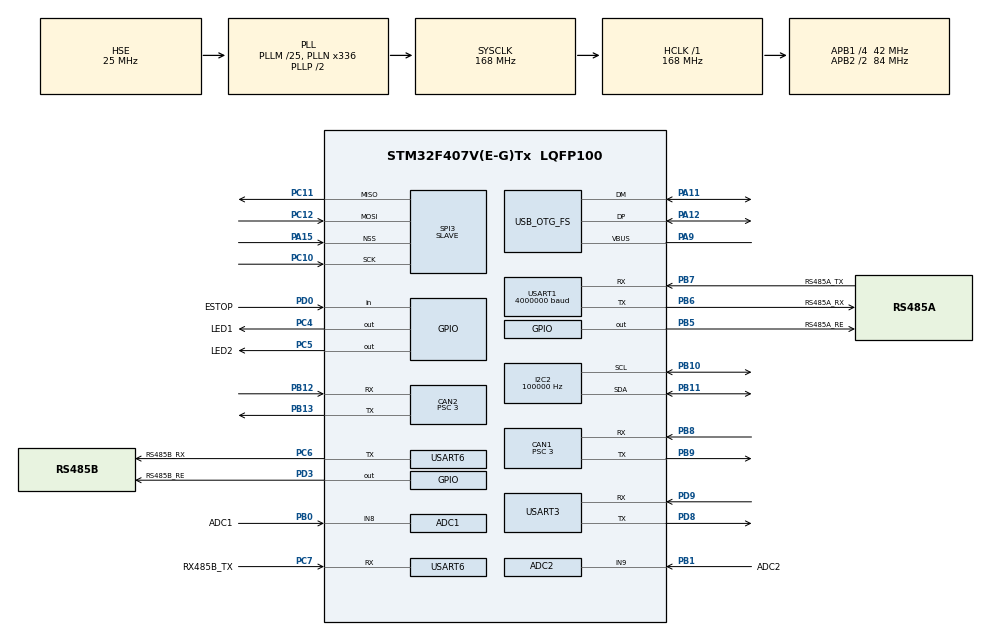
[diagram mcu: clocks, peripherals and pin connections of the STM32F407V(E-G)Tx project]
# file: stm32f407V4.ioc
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ADC1.Channel-1\#ChannelRegularConversion=ADC_CHANNEL_8
ADC1.NbrOfConversionFlag=1
ADC1.Rank-1\#ChannelRegularConversion=1
ADC1.SamplingTime-1\#ChannelRegularConversion=ADC_SAMPLETIME_3CYCLES
ADC1.master=1
ADC2.Channel-0\#ChannelRegularConversion=ADC_CHANNEL_9
ADC2.NbrOfConversionFlag=1
ADC2.Rank-0\#ChannelRegularConversion=1
ADC2.SamplingTime-0\#ChannelRegularConversion=ADC_SAMPLETIME_3CYCLES
CAN1.BS1=CAN_BS1_9TQ
CAN1.BS2=CAN_BS2_4TQ
CAN1.CalculateBaudRate=1000000
CAN1.CalculateTimeBit=1000
CAN1.CalculateTimeQuantum=71.42857142857143
CAN1.NART=ENABLE
CAN1.Prescaler=3
CAN2.BS1=CAN_BS1_9TQ
CAN2.BS2=CAN_BS2_4TQ
CAN2.CalculateBaudRate=1000000
CAN2.CalculateTimeBit=1000
CAN2.CalculateTimeQuantum=71.42857142857143
CAN2.NART=ENABLE
CAN2.Prescaler=3
Dma.I2C2_RX.2.Direction=DMA_PERIPH_TO_MEMORY
Dma.I2C2_RX.2.FIFOMode=DMA_FIFOMODE_DISABLE
Dma.I2C2_RX.2.Instance=DMA1_Stream3
Dma.I2C2_RX.2.MemDataAlignment=DMA_MDATAALIGN_BYTE
Dma.I2C2_RX.2.MemInc=DMA_MINC_ENABLE
Dma.I2C2_RX.2.Mode=DMA_NORMAL
Dma.I2C2_RX.2.PeriphDataAlignment=DMA_PDATAALIGN_BYTE
Dma.I2C2_RX.2.PeriphInc=DMA_PINC_DISABLE
Dma.I2C2_RX.2.Priority=DMA_PRIORITY_HIGH
Dma.I2C2_TX.3.Direction=DMA_MEMORY_TO_PERIPH
Dma.I2C2_TX.3.FIFOMode=DMA_FIFOMODE_DISABLE
Dma.I2C2_TX.3.Instance=DMA1_Stream7
Dma.I2C2_TX.3.MemDataAlignment=DMA_MDATAALIGN_BYTE
Dma.I2C2_TX.3.MemInc=DMA_MINC_ENABLE
Dma.I2C2_TX.3.Mode=DMA_NORMAL
Dma.I2C2_TX.3.PeriphDataAlignment=DMA_PDATAALIGN_BYTE
Dma.I2C2_TX.3.PeriphInc=DMA_PINC_DISABLE
Dma.I2C2_TX.3.Priority=DMA_PRIORITY_HIGH
Dma.Request0=SPI3_RX
Dma.Request1=SPI3_TX
Dma.Request2=I2C2_RX
Dma.Request3=I2C2_TX
Dma.Request4=USART3_RX
Dma.Request5=USART3_TX
Dma.Request6=USART6_RX
Dma.Request7=USART1_RX
Dma.SPI3_RX.0.Direction=DMA_PERIPH_TO_MEMORY
Dma.SPI3_RX.0.FIFOMode=DMA_FIFOMODE_DISABLE
Dma.SPI3_RX.0.Instance=DMA1_Stream0
Dma.SPI3_RX.0.MemDataAlignment=DMA_MDATAALIGN_BYTE
Dma.SPI3_RX.0.MemInc=DMA_MINC_ENABLE
Dma.SPI3_RX.0.Mode=DMA_NORMAL
Dma.SPI3_RX.0.PeriphDataAlignment=DMA_PDATAALIGN_BYTE
Dma.SPI3_RX.0.PeriphInc=DMA_PINC_DISABLE
Dma.SPI3_RX.0.Priority=DMA_PRIORITY_HIGH
Dma.SPI3_TX.1.Direction=DMA_MEMORY_TO_PERIPH
Dma.SPI3_TX.1.FIFOMode=DMA_FIFOMODE_DISABLE
Dma.SPI3_TX.1.Instance=DMA1_Stream5
Dma.SPI3_TX.1.MemDataAlignment=DMA_MDATAALIGN_BYTE
Dma.SPI3_TX.1.MemInc=DMA_MINC_ENABLE
Dma.SPI3_TX.1.Mode=DMA_NORMAL
Dma.SPI3_TX.1.PeriphDataAlignment=DMA_PDATAALIGN_BYTE
Dma.SPI3_TX.1.PeriphInc=DMA_PINC_DISABLE
Dma.SPI3_TX.1.Priority=DMA_PRIORITY_HIGH
Dma.USART1_RX.7.Direction=DMA_PERIPH_TO_MEMORY
Dma.USART1_RX.7.FIFOMode=DMA_FIFOMODE_DISABLE
Dma.USART1_RX.7.Instance=DMA2_Stream2
Dma.USART1_RX.7.MemDataAlignment=DMA_MDATAALIGN_BYTE
Dma.USART1_RX.7.MemInc=DMA_MINC_ENABLE
Dma.USART1_RX.7.Mode=DMA_NORMAL
Dma.USART1_RX.7.PeriphDataAlignment=DMA_PDATAALIGN_BYTE
Dma.USART1_RX.7.PeriphInc=DMA_PINC_DISABLE
Dma.USART1_RX.7.Priority=DMA_PRIORITY_HIGH
Dma.USART3_RX.4.Direction=DMA_PERIPH_TO_MEMORY
Dma.USART3_RX.4.FIFOMode=DMA_FIFOMODE_DISABLE
Dma.USART3_RX.4.Instance=DMA1_Stream1
Dma.USART3_RX.4.MemDataAlignment=DMA_MDATAALIGN_BYTE
Dma.USART3_RX.4.MemInc=DMA_MINC_ENABLE
Dma.USART3_RX.4.Mode=DMA_NORMAL
Dma.USART3_RX.4.PeriphDataAlignment=DMA_PDATAALIGN_BYTE
Dma.USART3_RX.4.PeriphInc=DMA_PINC_DISABLE
Dma.USART3_RX.4.Priority=DMA_PRIORITY_HIGH
Dma.USART3_TX.5.Direction=DMA_MEMORY_TO_PERIPH
Dma.USART3_TX.5.FIFOMode=DMA_FIFOMODE_DISABLE
Dma.USART3_TX.5.Instance=DMA1_Stream4
Dma.USART3_TX.5.MemDataAlignment=DMA_MDATAALIGN_BYTE
Dma.USART3_TX.5.MemInc=DMA_MINC_ENABLE
Dma.USART3_TX.5.Mode=DMA_NORMAL
Dma.USART3_TX.5.PeriphDataAlignment=DMA_PDATAALIGN_BYTE
Dma.USART3_TX.5.PeriphInc=DMA_PINC_DISABLE
Dma.USART3_TX.5.Priority=DMA_PRIORITY_HIGH
Dma.USART6_RX.6.Direction=DMA_PERIPH_TO_MEMORY
Dma.USART6_RX.6.FIFOMode=DMA_FIFOMODE_DISABLE
Dma.USART6_RX.6.Instance=DMA2_Stream1
Dma.USART6_RX.6.MemDataAlignment=DMA_MDATAALIGN_BYTE
Dma.USART6_RX.6.MemInc=DMA_MINC_ENABLE
Dma.USART6_RX.6.Mode=DMA_NORMAL
Dma.USART6_RX.6.PeriphDataAlignment=DMA_PDATAALIGN_BYTE
Dma.USART6_RX.6.PeriphInc=DMA_PINC_DISABLE
Dma.USART6_RX.6.Priority=DMA_PRIORITY_HIGH
FREERTOS.Tasks01=defaultTask,24,128,StartDefaultTask,Default,NULL,Dynamic,NULL,NULL;cdcRXTask,24,128,StartCDCRXTask,Default,NULL,Dynamic,NULL,NULL;canaTXTask,24,128,StartCANATXTask,Default,NULL,Dynamic,NULL,NULL;dataRXTask,24,128,StartDataRXTask,Default,NULL,Dynamic,NULL,NULL;cdcTXTask,24,128,StartCDCTXTask,Default,NULL,Dynamic,NULL,NULL;spiRXTask06,24,128,StartSPIRXTask,Default,NULL,Dynamic,NULL,NULL;usartTXTask,24,128,StartUSARTTXTask,Default,NULL,Dynamic,NULL,NULL;i2cRXTask,24,128,StartI2CRXTask,Default,NULL,Dynamic,NULL,NULL;adcRXTask,24,128,StartADCRXTask,Default,NULL,Dynamic,NULL,NULL;rs485ATXTask,24,128,StartRS485ATXTask,Default,NULL,Dynamic,NULL,NULL;rs485BTXTask,24,128,StartRS485BTXTask,Default,NULL,Dynamic,NULL,NULL;canbTXTask,24,128,StartCANBTXTask,Default,NULL,Dynamic,NULL,NULL
FREERTOS.configUSE_NEWLIB_REENTRANT=1
I2C2.ClockSpeed=100000
I2C2.I2C_Mode=I2C_Standard
Mcu.Family=STM32F4
Mcu.Name=STM32F407V(E-G)Tx
Mcu.Package=LQFP100
NVIC.CAN1_RX0_IRQn=true\:5\:0\:false\:false\:true\:true\:true\:true\:true
NVIC.CAN2_RX1_IRQn=true\:5\:0\:false\:false\:true\:true\:true\:true\:true
NVIC.DMA1_Stream0_IRQn=true\:5\:0\:false\:false\:true\:false\:false\:true\:true
NVIC.DMA1_Stream1_IRQn=true\:5\:0\:false\:false\:true\:true\:false\:true\:true
NVIC.DMA1_Stream3_IRQn=true\:5\:0\:false\:false\:true\:true\:false\:true\:true
NVIC.DMA1_Stream4_IRQn=true\:5\:0\:false\:false\:true\:true\:false\:true\:true
NVIC.DMA1_Stream5_IRQn=true\:5\:0\:false\:false\:true\:true\:false\:true\:true
NVIC.DMA1_Stream7_IRQn=true\:5\:0\:false\:false\:true\:true\:false\:true\:true
NVIC.DMA2_Stream1_IRQn=true\:5\:0\:false\:false\:true\:true\:false\:true\:true
NVIC.DMA2_Stream2_IRQn=true\:5\:0\:false\:false\:true\:true\:false\:true\:true
NVIC.I2C2_ER_IRQn=true\:5\:0\:false\:false\:true\:true\:true\:true\:true
NVIC.I2C2_EV_IRQn=true\:5\:0\:false\:false\:true\:true\:true\:true\:true
NVIC.OTG_FS_IRQn=true\:5\:0\:false\:false\:true\:true\:false\:true\:true
NVIC.PriorityGroup=NVIC_PRIORITYGROUP_4
NVIC.RCC_IRQn=true\:5\:0\:false\:false\:true\:true\:true\:false\:true
NVIC.TIM8_UP_TIM13_IRQn=true\:15\:0\:false\:false\:true\:false\:false\:true\:true
NVIC.TimeBase=TIM8_UP_TIM13_IRQn
NVIC.TimeBaseIP=TIM13
NVIC.USART1_IRQn=true\:5\:0\:false\:false\:true\:true\:true\:true\:true
NVIC.USART3_IRQn=true\:5\:0\:false\:false\:true\:true\:true\:true\:true
NVIC.USART6_IRQn=true\:5\:0\:false\:false\:true\:true\:true\:true\:true
PA11.Mode=Device_Only
PA11.Signal=USB_OTG_FS_DM
PA12.Mode=Device_Only
PA12.Signal=USB_OTG_FS_DP
PA13.Mode=Serial_Wire
PA13.Signal=SYS_JTMS-SWDIO
PA14.Mode=Serial_Wire
PA14.Signal=SYS_JTCK-SWCLK
PA15.GPIO_PuPd=GPIO_NOPULL
PA15.Mode=NSS_Signal_Hard_Input
PA15.Signal=SPI3_NSS
PA9.Mode=Activate_VBUS
PA9.Signal=USB_OTG_FS_VBUS
PB0.GPIO_Label=ADC1
PB0.Signal=ADCx_IN8
PB1.GPIO_Label=ADC2
PB1.Signal=ADCx_IN9
PB10.Mode=I2C
PB10.Signal=I2C2_SCL
PB11.Mode=I2C
PB11.Signal=I2C2_SDA
PB12.Mode=CAN_Activate
PB12.Signal=CAN2_RX
PB13.Mode=CAN_Activate
PB13.Signal=CAN2_TX
PB5.GPIO_Label=RS485A_RE
PB5.GPIO_PuPd=GPIO_NOPULL
PB5.GPIO_Speed=GPIO_SPEED_FREQ_HIGH
PB5.PinState=GPIO_PIN_RESET
PB5.Signal=GPIO_Output
PB6.GPIO_Label=RS485A_RX
PB6.GPIO_PuPd=GPIO_PULLUP
PB6.Mode=Asynchronous
PB6.Signal=USART1_TX
PB7.GPIO_Label=RS485A_TX
PB7.GPIO_PuPd=GPIO_PULLUP
PB7.GPIO_Speed=GPIO_SPEED_FREQ_VERY_HIGH
PB7.Mode=Asynchronous
PB7.Signal=USART1_RX
PB8.Mode=CAN_Activate
PB8.Signal=CAN1_RX
PB9.Mode=CAN_Activate
PB9.Signal=CAN1_TX
PC10.Mode=Full_Duplex_Slave
PC10.Signal=SPI3_SCK
PC11.Mode=Full_Duplex_Slave
PC11.Signal=SPI3_MISO
PC12.Mode=Full_Duplex_Slave
PC12.Signal=SPI3_MOSI
PC4.GPIO_Label=LED1
PC4.Signal=GPIO_Output
PC5.GPIO_Label=LED2
PC5.Signal=GPIO_Output
PC6.GPIO_Label=RS485B_RX
PC6.GPIO_PuPd=GPIO_PULLUP
PC6.Mode=Asynchronous
PC6.Signal=USART6_TX
PC7.GPIO_Label=RX485B_TX
PC7.GPIO_PuPd=GPIO_PULLUP
PC7.Mode=Asynchronous
PC7.Signal=USART6_RX
PD0.GPIO_Label=ESTOP
PD0.Signal=GPIO_Input
PD3.GPIO_Label=RS485B_RE
PD3.GPIO_ModeDefaultOutputPP=GPIO_MODE_OUTPUT_PP
PD3.GPIO_PuPd=GPIO_NOPULL
PD3.GPIO_Speed=GPIO_SPEED_FREQ_HIGH
PD3.PinState=GPIO_PIN_RESET
PD3.Signal=GPIO_Output
PD8.Mode=Asynchronous
PD8.Signal=USART3_TX
PD9.Mode=Asynchronous
PD9.Signal=USART3_RX
PH0-OSC_IN.Mode=HSE-External-Oscillator
PH0-OSC_IN.Signal=RCC_OSC_IN
PH1-OSC_OUT.Mode=HSE-External-Oscillator
PH1-OSC_OUT.Signal=RCC_OSC_OUT
ProjectManager.HeapSize=0x400
ProjectManager.StackSize=0x800
ProjectManager.TargetToolchain=STM32CubeIDE
RCC.48MHZClocksFreq_Value=48000000
RCC.AHBFreq_Value=168000000
RCC.APB1CLKDivider=RCC_HCLK_DIV4
RCC.APB1Freq_Value=42000000
RCC.APB1TimFreq_Value=84000000
RCC.APB2CLKDivider=RCC_HCLK_DIV2
RCC.APB2Freq_Value=84000000
RCC.APB2TimFreq_Value=168000000
RCC.CortexFreq_Value=168000000
RCC.HCLKFreq_Value=168000000
RCC.HSE_VALUE=25000000
RCC.HSI_VALUE=16000000
RCC.LSE_VALUE=32768
RCC.PLLM=25
RCC.PLLN=336
RCC.PLLQ=7
RCC.SYSCLKFreq_VALUE=168000000
RCC.SYSCLKSource=RCC_SYSCLKSOURCE_PLLCLK
RCC.VCOOutputFreq_Value=336000000
SH.ADCx_IN8.0=ADC1_IN8,IN8
SH.ADCx_IN9.0=ADC2_IN9,IN9
SPI3.CLKPhase=SPI_PHASE_1EDGE
SPI3.CRCCalculation=SPI_CRCCALCULATION_ENABLE
SPI3.CRCPolynomial=X0+X1+X2
SPI3.Direction=SPI_DIRECTION_2LINES
SPI3.Mode=SPI_MODE_SLAVE
SPI3.VirtualNSS=VM_NSSHARD
SPI3.VirtualType=VM_SLAVE
USART1.BaudRate=4000000
USART1.OverSampling=UART_OVERSAMPLING_8
USART1.VirtualMode=VM_ASYNC
USART3.VirtualMode=VM_ASYNC
USART6.BaudRate=4000000
USART6.OverSampling=UART_OVERSAMPLING_8
USART6.VirtualMode=VM_ASYNC
USB_DEVICE.CLASS_NAME_FS=CDC
USB_DEVICE.PRODUCT_STRING_CDC_FS=USB to CAN/RS485 ComPort
USB_DEVICE.VirtualMode-CDC_FS=Cdc
USB_DEVICE.VirtualModeFS=Cdc_FS
USB_OTG_FS.VirtualMode=Device_Only
VP_CRC_VS_CRC.Mode=CRC_Activate
VP_FREERTOS_VS_CMSIS_V2.Mode=CMSIS_V2
VP_SYS_VS_tim13.Mode=TIM13
VP_USB_DEVICE_VS_USB_DEVICE_CDC_FS.Mode=CDC_FS
board=custom

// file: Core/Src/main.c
/* USER CODE BEGIN Header */
/**
  ******************************************************************************
  * @file           : main.c
  * @brief          : Main program body
  ******************************************************************************
  * @attention
  *
  * Copyright (c) 2025 STMicroelectronics.
  * All rights reserved.
  *
  * This software is licensed under terms that can be found in the LICENSE file
  * in the root directory of this software component.
  * If no LICENSE file comes with this software, it is provided AS-IS.
  *
  ******************************************************************************
  */
/* USER CODE END Header */
#include "main.h"
#include "cmsis_os.h"
#include "adc.h"
#include "can.h"
#include "crc.h"
#include "dma.h"
#include "i2c.h"
#include "spi.h"
#include "usart.h"
#include "usb_device.h"
#include "gpio.h"

/* USER CODE BEGIN Includes */
#include "loop_function.h"
/* USER CODE END Includes */

void SystemClock_Config(void);
void MX_FREERTOS_Init(void);

int main(void)
{

  /* MCU Configuration--------------------------------------------------------*/

  /* Reset of all peripherals, Initializes the Flash interface and the Systick. */
  HAL_Init();

  /* Configure the system clock */
  SystemClock_Config();

  /* Initialize all configured peripherals */
  MX_GPIO_Init();
  MX_DMA_Init();
  MX_CAN1_Init();
  MX_CAN2_Init();
  MX_I2C2_Init();
  MX_SPI3_Init();
  MX_USART6_UART_Init();
  MX_ADC1_Init();
  MX_ADC2_Init();
  MX_CRC_Init();
  MX_USART3_UART_Init();
  MX_USART1_UART_Init();
  /* USER CODE BEGIN 2 */

  //HAL_GPIO_WritePin(LED1_GPIO_Port, LED1_Pin, RESET);
  HAL_GPIO_WritePin(LED2_GPIO_Port, LED2_Pin, SET);

	init_loop();
  /* USER CODE END 2 */

  /* Init scheduler */
  osKernelInitialize();  /* Call init function for freertos objects (in cmsis_os2.c) */
  MX_FREERTOS_Init();

  /* Start scheduler */
  osKernelStart();

  /* We should never get here as control is now taken by the scheduler */

  /* Infinite loop */
  while (1)
  {

  }
}

void SystemClock_Config(void)
{
  RCC_OscInitTypeDef RCC_OscInitStruct = {0};
  RCC_ClkInitTypeDef RCC_ClkInitStruct = {0};

  /** Configure the main internal regulator output voltage
  */
  __HAL_RCC_PWR_CLK_ENABLE();
  __HAL_PWR_VOLTAGESCALING_CONFIG(PWR_REGULATOR_VOLTAGE_SCALE1);

  /** Initializes the RCC Oscillators according to the specified parameters
  * in the RCC_OscInitTypeDef structure.
  */
  RCC_OscInitStruct.OscillatorType = RCC_OSCILLATORTYPE_HSE;
  RCC_OscInitStruct.HSEState = RCC_HSE_ON;
  RCC_OscInitStruct.PLL.PLLState = RCC_PLL_ON;
  RCC_OscInitStruct.PLL.PLLSource = RCC_PLLSOURCE_HSE;
  RCC_OscInitStruct.PLL.PLLM = 25;
  RCC_OscInitStruct.PLL.PLLN = 336;
  RCC_OscInitStruct.PLL.PLLP = RCC_PLLP_DIV2;
  RCC_OscInitStruct.PLL.PLLQ = 7;
  if (HAL_RCC_OscConfig(&RCC_OscInitStruct) != HAL_OK)
  {
    Error_Handler();
  }

  /** Initializes the CPU, AHB and APB buses clocks
  */
  RCC_ClkInitStruct.ClockType = RCC_CLOCKTYPE_HCLK|RCC_CLOCKTYPE_SYSCLK
                              |RCC_CLOCKTYPE_PCLK1|RCC_CLOCKTYPE_PCLK2;
  RCC_ClkInitStruct.SYSCLKSource = RCC_SYSCLKSOURCE_PLLCLK;
  RCC_ClkInitStruct.AHBCLKDivider = RCC_SYSCLK_DIV1;
  RCC_ClkInitStruct.APB1CLKDivider = RCC_HCLK_DIV4;
  RCC_ClkInitStruct.APB2CLKDivider = RCC_HCLK_DIV2;

  if (HAL_RCC_ClockConfig(&RCC_ClkInitStruct, FLASH_LATENCY_5) != HAL_OK)
  {
    Error_Handler();
  }
}

void HAL_TIM_PeriodElapsedCallback(TIM_HandleTypeDef *htim)
{
  if (htim->Instance == TIM13)
  {
    HAL_IncTick();
  }
}

void Error_Handler(void)
{
  __disable_irq();
  while (1)
  {
  }
}

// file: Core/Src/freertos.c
/* USER CODE BEGIN Header */
/**
  ******************************************************************************
  * File Name          : freertos.c
  * Description        : Code for freertos applications
  ******************************************************************************
  * @attention
  *
  * Copyright (c) 2025 STMicroelectronics.
  * All rights reserved.
  *
  * This software is licensed under terms that can be found in the LICENSE file
  * in the root directory of this software component.
  * If no LICENSE file comes with this software, it is provided AS-IS.
  *
  ******************************************************************************
  */
/* USER CODE END Header */

#include "FreeRTOS.h"
#include "task.h"
#include "main.h"
#include "cmsis_os.h"

/* USER CODE BEGIN Includes */
#include <stdio.h>
#include "error.h"
#include "usbd_cdc.h"
#include "loop_function.h"
#include "spi.h"
#include "usart.h"
#include "i2c.h"
#include "adc.h"
#include "mpu6050.h"
#include "usart.h"
#include "wd_control.h"
/* USER CODE END Includes */

/* USER CODE BEGIN Variables */
extern USBD_HandleTypeDef hUsbDeviceFS;
extern CAN_HandleTypeDef hcan1;
extern CAN_HandleTypeDef hcan2;
osThreadId_t wdControlTaskHandle;
static StaticTask_t wdControlTaskControlBlock;
static uint32_t wdControlTaskStack[512];
const osThreadAttr_t wdControlTask_attributes = {
  .name = "wdControlTask",
  .cb_mem = &wdControlTaskControlBlock,
  .cb_size = sizeof(wdControlTaskControlBlock),
  .stack_mem = wdControlTaskStack,
  .stack_size = sizeof(wdControlTaskStack),
  .priority = (osPriority_t) osPriorityHigh,
};
/* USER CODE END Variables */
/* Definitions for defaultTask */
osThreadId_t defaultTaskHandle;
const osThreadAttr_t defaultTask_attributes = {
  .name = "defaultTask",
  .stack_size = 128 * 4,
  .priority = (osPriority_t) osPriorityNormal,
};
/* Definitions for cdcRXTask */
osThreadId_t cdcRXTaskHandle;
const osThreadAttr_t cdcRXTask_attributes = {
  .name = "cdcRXTask",
  .stack_size = 256 * 4,
  .priority = (osPriority_t) osPriorityNormal,
};
/* Definitions for canaTXTask */
osThreadId_t canaTXTaskHandle;
const osThreadAttr_t canaTXTask_attributes = {
  .name = "canaTXTask",
  .stack_size = 256 * 4,
  .priority = (osPriority_t) osPriorityNormal,
};
/* Definitions for dataRXTask */
osThreadId_t dataRXTaskHandle;
const osThreadAttr_t dataRXTask_attributes = {
  .name = "dataRXTask",
  .stack_size = 256 * 4,
  .priority = (osPriority_t) osPriorityNormal,
};
/* Definitions for cdcTXTask */
osThreadId_t cdcTXTaskHandle;
const osThreadAttr_t cdcTXTask_attributes = {
  .name = "cdcTXTask",
  .stack_size = 256 * 4,
  .priority = (osPriority_t) osPriorityNormal,
};
/* Definitions for spiRXTask06 */
osThreadId_t spiRXTask06Handle;
const osThreadAttr_t spiRXTask06_attributes = {
  .name = "spiRXTask06",
  .stack_size = 256 * 4,
  .priority = (osPriority_t) osPriorityNormal,
};
/* Definitions for usartTXTask */
osThreadId_t usartTXTaskHandle;
const osThreadAttr_t usartTXTask_attributes = {
  .name = "usartTXTask",
  .stack_size = 128 * 4,
  .priority = (osPriority_t) osPriorityNormal,
};
/* Definitions for i2cRXTask */
osThreadId_t i2cRXTaskHandle;
const osThreadAttr_t i2cRXTask_attributes = {
  .name = "i2cRXTask",
  .stack_size = 128 * 4,
  .priority = (osPriority_t) osPriorityNormal,
};
/* Definitions for adcRXTask */
osThreadId_t adcRXTaskHandle;
const osThreadAttr_t adcRXTask_attributes = {
  .name = "adcRXTask",
  .stack_size = 128 * 4,
  .priority = (osPriority_t) osPriorityNormal,
};
/* Definitions for rs485ATXTask */
osThreadId_t rs485ATXTaskHandle;
const osThreadAttr_t rs485ATXTask_attributes = {
  .name = "rs485ATXTask",
  .stack_size = 256 * 4,
  .priority = (osPriority_t) osPriorityNormal,
};
/* Definitions for rs485BTXTask */
osThreadId_t rs485BTXTaskHandle;
const osThreadAttr_t rs485BTXTask_attributes = {
  .name = "rs485BTXTask",
  .stack_size = 256 * 4,
  .priority = (osPriority_t) osPriorityNormal,
};
/* Definitions for canbTXTask */
osThreadId_t canbTXTaskHandle;
const osThreadAttr_t canbTXTask_attributes = {
  .name = "canbTXTask",
  .stack_size = 256 * 4,
  .priority = (osPriority_t) osPriorityNormal,
};

/* USER CODE BEGIN FunctionPrototypes */
void StartWDControlTask(void *argument);

/* USER CODE END FunctionPrototypes */

void StartDefaultTask(void *argument);
void StartCDCRXTask(void *argument);
void StartCANATXTask(void *argument);
void StartDataRXTask(void *argument);
void StartCDCTXTask(void *argument);
void StartSPIRXTask(void *argument);
void StartUSARTTXTask(void *argument);
void StartI2CRXTask(void *argument);
void StartADCRXTask(void *argument);
void StartRS485ATXTask(void *argument);
void StartRS485BTXTask(void *argument);
void StartCANBTXTask(void *argument);

extern void MX_USB_DEVICE_Init(void);
void MX_FREERTOS_Init(void); /* (MISRA C 2004 rule 8.1) */

void MX_FREERTOS_Init(void) {

  /* Create the thread(s) */
  /* creation of defaultTask */
  defaultTaskHandle = osThreadNew(StartDefaultTask, NULL, &defaultTask_attributes);

  /* creation of cdcRXTask */
  cdcRXTaskHandle = osThreadNew(StartCDCRXTask, NULL, &cdcRXTask_attributes);

  /* creation of canaTXTask */
  canaTXTaskHandle = osThreadNew(StartCANATXTask, NULL, &canaTXTask_attributes);

  /* creation of dataRXTask */
  dataRXTaskHandle = osThreadNew(StartDataRXTask, NULL, &dataRXTask_attributes);

  /* creation of cdcTXTask */
  cdcTXTaskHandle = osThreadNew(StartCDCTXTask, NULL, &cdcTXTask_attributes);

  /* creation of spiRXTask06 */
  spiRXTask06Handle = osThreadNew(StartSPIRXTask, NULL, &spiRXTask06_attributes);

  /* creation of usartTXTask */
  usartTXTaskHandle = osThreadNew(StartUSARTTXTask, NULL, &usartTXTask_attributes);

  /* creation of i2cRXTask */
  i2cRXTaskHandle = osThreadNew(StartI2CRXTask, NULL, &i2cRXTask_attributes);

  /* creation of adcRXTask */
  adcRXTaskHandle = osThreadNew(StartADCRXTask, NULL, &adcRXTask_attributes);

  /* creation of rs485ATXTask */
  rs485ATXTaskHandle = osThreadNew(StartRS485ATXTask, NULL, &rs485ATXTask_attributes);

  /* creation of rs485BTXTask */
  rs485BTXTaskHandle = osThreadNew(StartRS485BTXTask, NULL, &rs485BTXTask_attributes);

  /* creation of canbTXTask */
  canbTXTaskHandle = osThreadNew(StartCANBTXTask, NULL, &canbTXTask_attributes);

  /* USER CODE BEGIN RTOS_THREADS */
  /* add threads, ... */
  /*
   * Static allocation keeps the 1 kHz dry-run control task independent from
   * the tight generated heap. If creation still fails, cdcTXTask runs a
   * visible fallback tick so the PC tool can report the degraded mode.
   */
  wdControlTaskHandle = osThreadNew(StartWDControlTask, NULL, &wdControlTask_attributes);
  /* USER CODE END RTOS_THREADS */

}

void StartDefaultTask(void *argument)
{
  /* init code for USB_DEVICE */
  MX_USB_DEVICE_Init();
  /* USER CODE BEGIN StartDefaultTask */
  init_task(&hspi3,
		  RS485A_RE_GPIO_Port,
			RS485A_RE_Pin,
			&huart1,
			&hdma_usart1_rx,
			RS485B_RE_GPIO_Port,
			RS485B_RE_Pin,
			&huart6,
			&hdma_usart6_rx,
			&hUsbDeviceFS,
			&canaTXTaskHandle,
			&canbTXTaskHandle,
			&rs485ATXTaskHandle,
			&rs485BTXTaskHandle);

/* *********************************************************
* This task is part of a complete real-time framework.
* The HAL and RTOS are already initialized before this runs.
* USB device is initialized here via MX_USB_DEVICE_Init().
* The following handles are already defined and ready to use:
*   hspi3, huart1/huart6, hdma_usart1_rx/hdma_usart6_rx,
*   RS485A_RE_GPIO_Port/Pin, RS485B_RE_GPIO_Port/Pin.
* Replace the loop below with your system bring-up or services.
* Remove the function remove_me() before adding your code.
* ********************************************************/

  for(;;)
  {
	  osDelay(1);
  }

  /* USER CODE END StartDefaultTask */
}

void StartCDCRXTask(void *argument)
{
  /* USER CODE BEGIN StartCDCRXTask */

/* *********************************************************
* This task is part of a complete real-time framework.
* USB CDC device handle hUsbDeviceFS is available and ready.
* USBD_CDC_* APIs and the existing CDC helper functions
* Replace the loop below with your custom CDC RX logic.
* ********************************************************/

  for(;;)
  {
	cdc_rx_loop();
  }
  /* USER CODE END StartCDCRXTask */
}

void StartCANATXTask(void *argument)
{
  /* USER CODE BEGIN StartCANATXTask */
/* *********************************************************
 * This task is part of a complete real-time framework.
 * CAN handles hcan1 are already defined and ready.
 * hcan1 for CAN-1/3
 * Use them to publish outbound CAN frames or routing logic.
 * Existing code can be replaced.
 * ********************************************************/

  for(;;)
  {
	cana_tx_loop(&hcan1);
  }
  /* USER CODE END StartCANATXTask */
}

void StartDataRXTask(void *argument)
{
  /* USER CODE BEGIN StartDataRXTask */

/* *********************************************************
 * This task is part of a complete real-time framework.
 * The task is intended for inbound data processing/dispatch.
 * You can replace it with your own data aggregation/decoder logic.
 * ********************************************************/

  for(;;)
  {
  	data_rx_loop();
  }
  /* USER CODE END StartDataRXTask */
}

void StartCDCTXTask(void *argument)
{
  /* USER CODE BEGIN StartCDCTXTask */

/* *********************************************************
 * This task is part of a complete real-time framework.
 * USB CDC device handle hUsbDeviceFS is available and ready.
 * USBD_CDC_SetTxBuffer / USBD_CDC_TransmitPacket can be used
 * Replace the loop below with your custom CDC TX logic.
 * ********************************************************/

  for(;;)
  {
  	if (wdControlTaskHandle == NULL) {
  		wd_control_note_control_task_fallback();
  		wd_control_service_1khz();
  	}
  	if (!wd_control_usb_tx_poll()) {
  		cdc_tx_loop();
  	} else {
  		osDelay(1);
  	}
  }
  /* USER CODE END StartCDCTXTask */
}

void StartSPIRXTask(void *argument)
{
  /* USER CODE BEGIN StartSPIRXTask */
/* *********************************************************
 * This task is part of a complete real-time framework.
 * SPI handle hspi3 and routing targets (hcan1/hcan2, huart1/huart6)
 * hcan1 for CAN-1/3
 * hcan2 for CAN-2/4
 * huart1 for RS485-1/3
 * huart6 for RS485-2/4
 * are already defined and ready to use.
 * You can use this task to read SPI payloads and forward them.
 * Replace the loop below with your own SPI RX pipeline.
 * ********************************************************/

  for(;;)
  {
  	spi_rx_loop(&hcan1, &hcan2, &huart1, &huart6);
  }
  /* USER CODE END StartSPIRXTask */
}

void StartUSARTTXTask(void *argument)
{
  /* USER CODE BEGIN StartUSARTTXTask */

/* *********************************************************
 * This task is part of a complete real-time framework.
 * UART handle huart3 (and DMA handles in usart.h) are ready.
 * Use HAL_UART_Transmit or HAL_UART_Transmit_DMA as needed.
 * Replace the loop below with your custom UART TX logic.
 * Remove the function remove_me() before adding your code.
 * ********************************************************/

  for(;;)
  {
	  osDelay(1);
  }

  /* USER CODE END StartUSARTTXTask */
}

void StartI2CRXTask(void *argument)
{
  /* USER CODE BEGIN StartI2CRXTask */

/* *********************************************************
 * This task is part of a complete real-time framework.
 * I2C handle hi2c2 is available and initialized.
 * UART handle huart3 is also available for debug/output.
 * You can read sensors (e.g., MPU6050) and publish results.
 * Replace the loop below with your custom I2C RX logic.
 * Remove the function remove_me() before adding your code.
 * ********************************************************/

	for(;;)
	{
		osDelay(1);
	}

//  for(;;)
//  {
//	uint8_t mpu_len = 14;
//	uint8_t mpu_data[14] = {0};
//  	if(MPU_Init(&hi2c2)==0)
//  	{
//  		MPU_Read_Len(&hi2c2, 0x3B, mpu_len, mpu_data);
//  		HAL_UART_Transmit_DMA(&huart3, mpu_data, mpu_len);
//  	}
//		HAL_Delay(1000);
//  }

  /* USER CODE END StartI2CRXTask */
}

void StartADCRXTask(void *argument)
{
  /* USER CODE BEGIN StartADCRXTask */
/* *********************************************************
 * This task is part of a complete real-time framework.
 * ADC handles hadc1 and hadc2 are already defined and ready.
 * Use HAL_ADC_Start / HAL_ADC_PollForConversion to sample data,
 * then filter, scale, or publish the results as needed.
 * Replace the loop below with your custom ADC sampling logic.
 * Remove the function remove_me() before adding your code.
 * ********************************************************/
	for(;;)
	{
		osDelay(1);
	}
//  for(;;)
//  {
//  	HAL_ADC_Start(&hadc1);//开始ADC采集
//  	HAL_ADC_PollForConversion(&hadc1,500);//等待采集结束
//
//
//  	HAL_ADC_Start(&hadc2);//开始ADC采集
//  	HAL_ADC_PollForConversion(&hadc2,500);//等待采集结束
//
//  	// HAL_UART_Transmit_DMA(&huart3, (uint8_t*)&value_adc, value_len);
//
//  	HAL_Delay(1000);
//
//  }

  /* USER CODE END StartADCRXTask */
}

void StartRS485ATXTask(void *argument)
{
  /* USER CODE BEGIN StartRS485ATXTask */
/* *********************************************************
 * This task is part of a complete real-time framework.
 * UART handle huart1 is ready for RS485-1/3 transmission.
 * RS485A_RE_GPIO_Port/Pin are available for driver enable control.
 * Replace the loop below with your custom RS485-1/3 TX logic.
 * ********************************************************/

  for(;;)
  {
	rs485a_tx_loop(&huart1, RS485A_RE_GPIO_Port, RS485A_RE_Pin);
  }
  /* USER CODE END StartRS485ATXTask */
}

void StartRS485BTXTask(void *argument)
{
  /* USER CODE BEGIN StartRS485BTXTask */
/* *********************************************************
 * This task is part of a complete real-time framework.
 * UART handle huart6 is ready for RS485-2/4 transmission.
 * RS485B_RE_GPIO_Port/Pin are available for driver enable control.
 * Replace the loop below with your custom RS485-2/4 TX logic.
 * ********************************************************/

  for(;;)
  {
	rs485b_tx_loop(&huart6, RS485B_RE_GPIO_Port, RS485B_RE_Pin);
  }
  /* USER CODE END StartRS485BTXTask */
}

void StartCANBTXTask(void *argument)
{
  /* USER CODE BEGIN StartCANBTXTask */
/* *********************************************************
 * This task is part of a complete real-time framework.
 * CAN handles hcan2 are already defined and ready.
 * hcan2 for CAN-2/4
 * Use them to publish outbound CAN frames or routing logic.
 * Existing code can be replaced.
 * ********************************************************/

  for(;;)
  {
	canb_tx_loop(&hcan2);
  }
  /* USER CODE END StartCANBTXTask */
}

/* USER CODE BEGIN Application */
void StartWDControlTask(void *argument)
{
  TickType_t last_wake_tick;

  (void)argument;
  wd_control_init();
  last_wake_tick = xTaskGetTickCount();
  for (;;)
  {
    wd_control_service_1khz();
    vTaskDelayUntil(&last_wake_tick, pdMS_TO_TICKS(1));
  }
}

/* USER CODE END Application */
